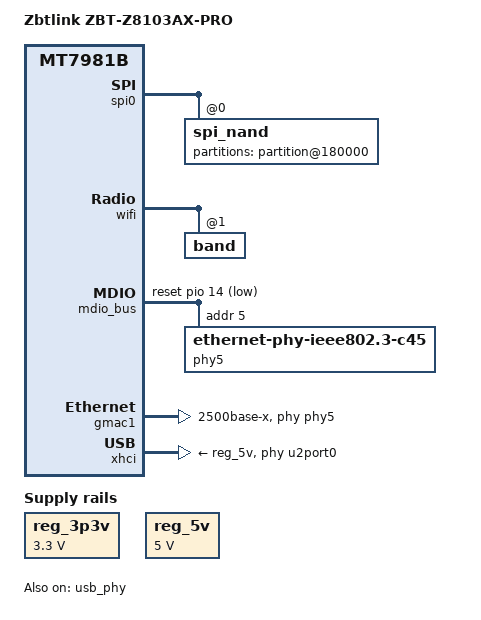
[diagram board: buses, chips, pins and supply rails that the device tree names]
// SPDX-License-Identifier: GPL-2.0-or-later OR MIT

/dts-v1/;

#include "mt7981b-zbtlink-zbt-z8103ax.dtsi"

/ {
	model = "Zbtlink ZBT-Z8103AX-PRO";
	compatible = "zbtlink,zbt-z8103ax-pro", "mediatek,mt7981b";

	reg_3p3v: regulator-3p3v {
		compatible = "regulator-fixed";
		regulator-name = "fixed-3.3V";
		regulator-min-microvolt = <3300000>;
		regulator-max-microvolt = <3300000>;
		regulator-boot-on;
		regulator-always-on;
	};

	reg_5v: regulator-5v {
		compatible = "regulator-fixed";
		regulator-name = "fixed-5V";
		regulator-min-microvolt = <5000000>;
		regulator-max-microvolt = <5000000>;
		regulator-boot-on;
		regulator-always-on;
	};
};

&int_gbe_phy {
	status = "disabled";
};

/* Fix MAC addr conflicts */
&spi0 {
	spi_nand@0 {
		partitions {
			partition@180000 {
				nvmem-layout {
					macaddr_factory_24: macaddr@24 {
						reg = <0x24 0x6>;
						compatible = "mac-base";
						#nvmem-cell-cells = <1>;
					};
				};
			};
		};
	};
};

&wifi {
	band@1 {
		nvmem-cells = <&macaddr_factory_a 0>;
	};
};

&switch {
	ports {
		port@0 {
			nvmem-cells = <&macaddr_factory_24 0>;
		};

		port@1 {
			nvmem-cells = <&macaddr_factory_24 1>;
		};

		port@2 {
			nvmem-cells = <&macaddr_factory_24 2>;
		};
	};
};

/* WAN via external 2.5G PHY (Maxlinear Ethernet GPY211C) */
&mdio_bus {
	reset-gpios = <&pio 14 GPIO_ACTIVE_LOW>;
	reset-delay-us = <600>;
	reset-post-delay-us = <20000>;

	phy5: phy@5 {
		compatible = "ethernet-phy-ieee802.3-c45";
		reg = <5>;
	};
};

&gmac1 {
	phy-mode = "2500base-x";
	phy-handle = <&phy5>;
};

&usb_phy {
	status = "okay";
};

&xhci {
	/* Only a physical USB2 Port */
	phys = <&u2port0 PHY_TYPE_USB2>;
	vusb33-supply = <&reg_3p3v>;
	vbus-supply = <&reg_5v>;
	mediatek,u3p-dis-msk = <0x01>;
	status = "okay";
};
